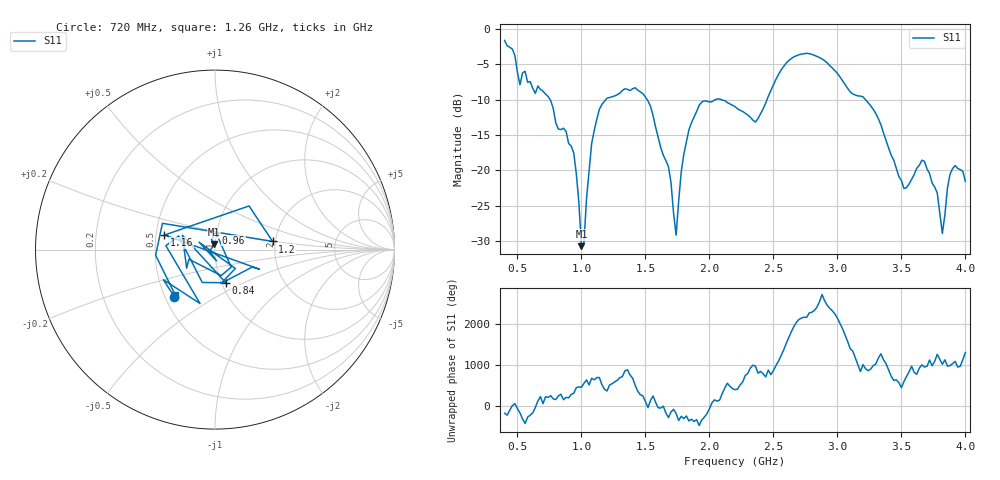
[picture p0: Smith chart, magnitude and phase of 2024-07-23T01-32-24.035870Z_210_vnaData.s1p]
!Created with skrf (http://scikit-rf.org).
# Hz S RI R 50.0
!freq ReS11 ImS11
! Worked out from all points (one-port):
!   181 points, 400 MHz to 4 GHz, reference 50 ohm
!   lowest |S11| = -30.7 dB at 1 GHz (marker M1), VSWR 1.06, Z = 49.6 + j2.87 ohm
!   |S11| at or under -10 dB: 755.7 MHz to 1.19 GHz (434.4 MHz wide, 44.6 % of centre); 1.514 GHz to 2.045 GHz (531.4 MHz wide, 29.9 % of centre); 3.22 GHz to end of sweep (the widest 3 of 4)
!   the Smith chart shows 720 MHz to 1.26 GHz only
!   S11 on the Smith chart (normalised r, x): 720 MHz: 0.56, -0.33; 840 MHz: 1.05, -0.40; 960 MHz: 0.99, +0.19; 1.16 GHz: 0.55, +0.10; 1.2 GHz: 1.93, +0.20; 1.26 GHz: 0.57, -0.33
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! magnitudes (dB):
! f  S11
! 400 MHz  -1.6
! 520 MHz  -7.9
! 720 MHz  -9.2
! 840 MHz  -14.2
! 860 MHz  -14.0
! 960 MHz  -20.4
! 1 GHz  -30.7
! 1.02 GHz  -30.2
! 1.08 GHz  -16.2
! 1.16 GHz  -10.7
! 1.2 GHz  -9.8
! 1.26 GHz  -9.5
! 1.3 GHz  -9.1
! 1.52 GHz  -10.2
! 1.68 GHz  -19.5
! 1.74 GHz  -29.2
! 1.76 GHz  -24.3
! 1.84 GHz  -14.2
! 1.92 GHz  -10.8
! 2.2 GHz  -11.0
! 2.36 GHz  -13.2
! 2.66 GHz  -3.9
! 3.1 GHz  -8.9
! 3.56 GHz  -21.9
! 3.68 GHz  -18.7
! 3.82 GHz  -28.9
! 3.88 GHz  -20.5
! 4 GHz  -21.6
